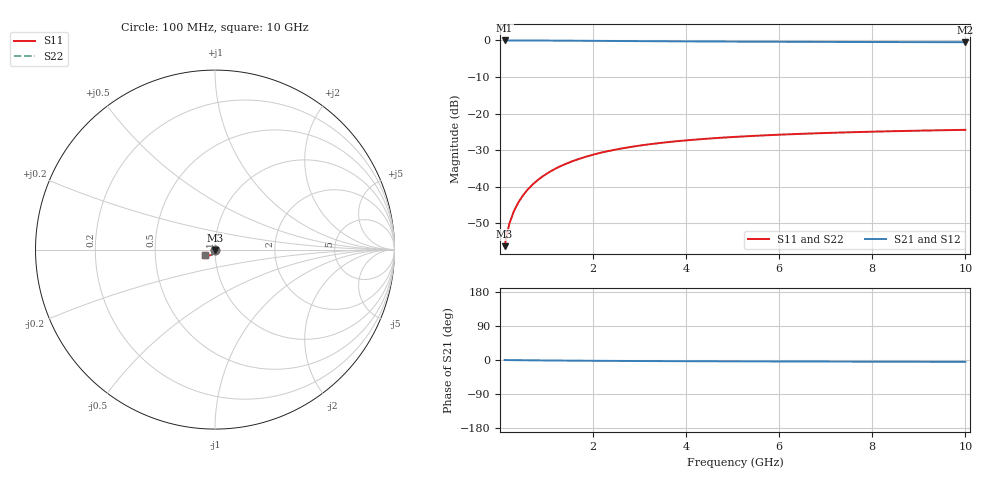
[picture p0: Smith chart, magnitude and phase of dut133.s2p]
! Touchstone file exported from HFSS 2024.1.0
!  File:  C:/UserFiles/LocalFiles/RDL_TSV_Batchsim/temp_TSV1_133_1779379755.aedt
!  Generated:  12:13:44 AM May 22, 2026
!  Design:  TSV1
!  Project:  temp_TSV1_133_1779379755
!  Setup:  Setup1
!  Solution:  Sweep
! Variables:
!  dtsv = 13.04um
!  hbump = 3um
!  htsv = 73.77um
!  lrdl = 252.1521522um
!  p = 40
!  p1 = 41.67um
!  t = 500um
!  trdl = 3um
!  wrdl = 24.89489489um
# GHz S MA R 50.000000
! Terminal data exported
! Port[1] = TSV22_T1
! Port[2] = TSV22_T2
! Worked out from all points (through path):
!   100 points, 100 MHz to 10 GHz, reference 50 ohm
!   highest |S21| = 0.00 dB at 100 MHz (marker M1); lowest = -0.5 dB at 10 GHz (marker M2)
!   lowest |S11| = -56.2 dB at 100 MHz (marker M3), VSWR 1.00, Z = 50 - j0.155 ohm
!   |S11| at or under -10 dB: start of sweep to end of sweep
!   |S22| runs from -56.2 to -24.4 dB; largest |S21 - S12| = 5.6e-15
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0.1  0.001549 -88.2  0.9999 -0.1  0.9999 -0.1  0.001549 -88.2
! Gamma 0 0 0 0
! Port Impedance 50 0 50 0
0.2  0.003112 -91.1  0.9997 -0.2  0.9997 -0.2  0.003112 -91.1
0.3  0.004667 -93.1  0.9995 -0.4  0.9995 -0.4  0.004667 -93.1
0.4  0.006211 -94.9  0.9993 -0.5  0.9993 -0.5  0.006211 -94.9
0.5  0.00774 -96.5  0.9989 -0.6  0.9989 -0.6  0.00774 -96.5
0.6  0.009252 -98.0  0.9985 -0.7  0.9985 -0.7  0.009252 -98.0
0.7  0.01074 -99.5  0.998 -0.8  0.998 -0.8  0.01074 -99.5
0.8  0.01221 -101.0  0.9974 -1.0  0.9974 -1.0  0.01221 -101.0
0.9  0.01366 -102.4  0.9968 -1.1  0.9968 -1.1  0.01366 -102.4
1.1  0.01647 -105.2  0.9954 -1.3  0.9954 -1.3  0.01647 -105.2
1.4  0.02045 -109.1  0.993 -1.6  0.993 -1.6  0.02045 -109.1
1.6  0.02293 -111.6  0.9913 -1.8  0.9913 -1.8  0.02293 -111.6
1.8  0.02528 -113.9  0.9895 -1.9  0.9895 -1.9  0.02528 -113.9
2.1  0.02855 -117.2  0.9868 -2.2  0.9868 -2.2  0.02855 -117.2
2.5  0.03244 -121.2  0.9832 -2.4  0.9832 -2.4  0.03244 -121.2
2.9  0.03584 -124.8  0.9797 -2.7  0.9797 -2.7  0.03584 -124.8
3.4  0.03949 -128.7  0.9755 -2.9  0.9755 -2.9  0.03949 -128.7
4.2  0.04423 -133.9  0.9696 -3.2  0.9696 -3.2  0.04423 -133.9
5.1  0.04836 -138.5  0.9641 -3.6  0.9641 -3.6  0.04836 -138.5
6.7  0.05365 -144.7  0.9565 -4.0  0.9565 -4.0  0.05365 -144.7
8.4  0.05751 -149.5  0.9508 -4.5  0.9508 -4.5  0.05751 -149.5
10  0.06011 -152.8  0.9469 -4.9  0.9469 -4.9  0.06011 -152.8
